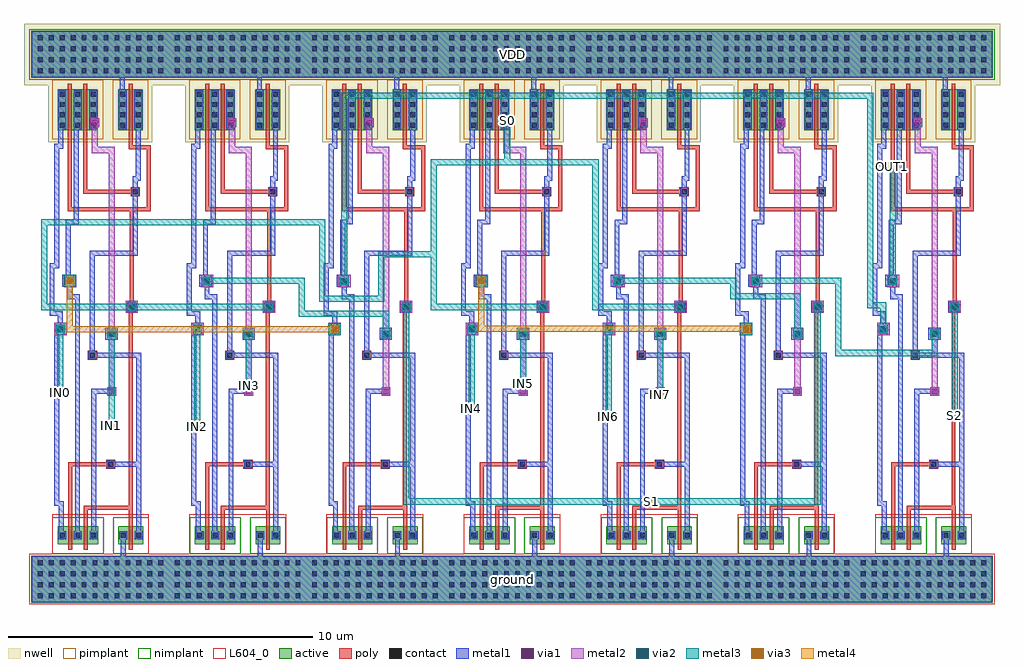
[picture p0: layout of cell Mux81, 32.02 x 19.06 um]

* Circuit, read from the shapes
.subckt Mux81 IN0 IN1 IN2 IN3 IN4 IN5 IN6 IN7 OUT1 S0 S1 S2 VDD ground
M1 Mux21_1/A n1 IN0 ground nfet w=0.6u l=0.13u
M2 IN1 S0 Mux21_1/A ground nfet w=0.6u l=0.13u
M3 n1 S0 ground ground nfet w=0.6u l=0.13u
M4 Mux21_1/B n2 IN2 ground nfet w=0.6u l=0.13u
M5 IN3 S0 Mux21_1/B ground nfet w=0.6u l=0.13u
M6 n2 S0 ground ground nfet w=0.6u l=0.13u
M7 Mux21_3/A n3 Mux21_1/A ground nfet w=0.6u l=0.13u
M8 Mux21_1/B S1 Mux21_3/A ground nfet w=0.6u l=0.13u
M9 n3 S1 ground ground nfet w=0.6u l=0.13u
M10 Mux21_5/A n4 IN4 ground nfet w=0.6u l=0.13u
M11 IN5 S0 Mux21_5/A ground nfet w=0.6u l=0.13u
M12 n4 S0 ground ground nfet w=0.6u l=0.13u
M13 Mux21_5/B n5 IN6 ground nfet w=0.6u l=0.13u
M14 IN7 S0 Mux21_5/B ground nfet w=0.6u l=0.13u
M15 n5 S0 ground ground nfet w=0.6u l=0.13u
M16 Mux21_3/B n6 Mux21_5/A ground nfet w=0.6u l=0.13u
M17 Mux21_5/B S1 Mux21_3/B ground nfet w=0.6u l=0.13u
M18 n6 S1 ground ground nfet w=0.6u l=0.13u
M19 OUT1 n7 Mux21_3/A ground nfet w=0.6u l=0.13u
M20 Mux21_3/B S2 OUT1 ground nfet w=0.6u l=0.13u
M21 n7 S2 ground ground nfet w=0.6u l=0.13u
M22 Mux21_1/A S0 IN0 VDD pfet w=1.35u l=0.13u
M23 IN1 n1 Mux21_1/A VDD pfet w=1.35u l=0.13u
M24 n1 S0 VDD VDD pfet w=1.35u l=0.13u
M25 Mux21_1/B S0 IN2 VDD pfet w=1.35u l=0.13u
M26 IN3 n2 Mux21_1/B VDD pfet w=1.35u l=0.13u
M27 n2 S0 VDD VDD pfet w=1.35u l=0.13u
M28 Mux21_3/A S1 Mux21_1/A VDD pfet w=1.35u l=0.13u
M29 Mux21_1/B n3 Mux21_3/A VDD pfet w=1.35u l=0.13u
M30 n3 S1 VDD VDD pfet w=1.35u l=0.13u
M31 Mux21_5/A S0 IN4 VDD pfet w=1.35u l=0.13u
M32 IN5 n4 Mux21_5/A VDD pfet w=1.35u l=0.13u
M33 n4 S0 VDD VDD pfet w=1.35u l=0.13u
M34 Mux21_5/B S0 IN6 VDD pfet w=1.35u l=0.13u
M35 IN7 n5 Mux21_5/B VDD pfet w=1.35u l=0.13u
M36 n5 S0 VDD VDD pfet w=1.35u l=0.13u
M37 Mux21_3/B S1 Mux21_5/A VDD pfet w=1.35u l=0.13u
M38 Mux21_5/B n6 Mux21_3/B VDD pfet w=1.35u l=0.13u
M39 n6 S1 VDD VDD pfet w=1.35u l=0.13u
M40 OUT1 S2 Mux21_3/A VDD pfet w=1.35u l=0.13u
M41 Mux21_3/B n7 OUT1 VDD pfet w=1.35u l=0.13u
M42 n7 S2 VDD VDD pfet w=1.35u l=0.13u
.ends

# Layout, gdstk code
import gdstk
lib = gdstk.Library(unit=1e-6, precision=1e-09)
def R(c, l, rs):  # rectangles x0, y0, x1, y1
    for r in rs: c.add(gdstk.rectangle(r[:2], r[2:], *l))
def A(c, l, x, y, w, h, nx, ny, dx, dy):  # array of equal rectangles
    R(c, l, [(x+i*dx, y+j*dy, x+i*dx+w, y+j*dy+h) for i in range(nx) for j in range(ny)])
def P(c, l, *ps):  # polygons
    for p in ps: c.add(gdstk.Polygon(p, *l))
nwell = (3, 0)
active = (6, 0)
poly = (17, 0)
pimplant = (25, 0)
nimplant = (26, 0)
contact = (30, 0)
metal1 = (31, 0)
metal2 = (32, 0)
metal3 = (33, 0)
metal4 = (34, 0)
via1 = (51, 0)
via2 = (52, 0)
via3 = (53, 0)
L604_0 = (604, 0)

m2m3 = lib.new_cell('M2M3')
R(m2m3, metal2, [(-0.145,-0.145,0.145,0.145)])
R(m2m3, metal3, [(-0.145,-0.145,0.145,0.145)])
R(m2m3, via2, [(-0.095,-0.095,0.095,0.095)])

m1m2 = lib.new_cell('M1M2')
R(m1m2, metal1, [(-0.145,-0.145,0.145,0.145)])
R(m1m2, metal2, [(-0.145,-0.145,0.145,0.145)])
R(m1m2, via1, [(-0.095,-0.095,0.095,0.095)])

poly_m1 = lib.new_cell('POLY_M1')
R(poly_m1, poly, [(-0.15,-0.15,0.15,0.15)])
R(poly_m1, contact, [(-0.08,-0.08,0.08,0.08)])
R(poly_m1, metal1, [(-0.13,-0.13,0.13,0.13)])

mux21 = lib.new_cell('Mux21')
R(mux21, nwell, [(-1.815,108.335,1.605,110.465), (-2.605,110.205,2.415,112.225)])
R(mux21, active, [(-2.365,93.225,2.175,94.765), (-1.495,95.135,-0.175,95.735), (0.495,95.135,1.305,95.735), (-1.505,108.725,-0.185,110.075), (0.485,108.725,1.295,110.075), (-2.365,110.445,2.175,111.985)])
R(mux21, poly, [(-1.155,94.955,-1.025,95.135), (-0.645,94.955,-0.515,95.135), (0.835,94.955,0.965,95.135), (-1.155,95.135,-1.025,95.735), (-0.645,95.135,-0.515,95.735), (0.835,95.135,0.965,95.735), (-1.155,95.735,-1.025,95.915), (-0.645,95.735,-0.515,95.915), (0.835,95.735,0.965,95.915), (0.835,95.785,0.965,96.4), (0.825,96.27,0.965,96.4), (0.825,96.27,0.955,102.99), (0.87,102.86,1,106.2), (0.87,106.07,1.56,106.2), (-1.165,108.545,-1.035,108.725), (-0.655,108.545,-0.525,108.725), (0.825,108.545,0.955,108.725), (-1.165,108.725,-1.035,110.075), (-0.655,108.725,-0.525,110.075), (0.825,108.725,0.955,110.075), (-1.165,110.075,-1.035,110.255), (-0.655,110.075,-0.525,110.255), (0.825,110.075,0.955,110.255)])
P(mux21, poly, [(-1.155,95.785),(-1.025,95.785),(-1.025,97.705),(0.31,97.705),(0.31,97.835),(-1.155,97.835)],
  [(-0.655,106.645),(1.115,106.645),(1.115,106.775),(-0.525,106.775),(-0.525,108.675),(-0.655,108.675)],
  [(0.825,108.1),(1.43,108.1),(1.43,106.07),(1.56,106.07),(1.56,108.23),(0.955,108.23),(0.955,108.675),(0.825,108.675)],
  [(-0.645,95.785),(-0.515,95.785),(-0.515,96.27),(0.955,96.27),(0.955,96.4),(-0.645,96.4)],
  [(-1.165,106.07),(1,106.07),(1,106.2),(-1.035,106.2),(-1.035,108.675),(-1.165,108.675)])
R(mux21, pimplant, [(-2.425,93.165,2.235,94.825), (-1.685,108.425,-0.005,110.375), (0.305,108.425,1.475,110.375)])
R(mux21, nimplant, [(-1.675,94.835,0.005,96.035), (0.315,94.835,1.485,96.035), (-2.425,110.385,2.235,112.045)])
A(mux21, contact, -2.155, 93.375, 0.16, 0.16, 12, 4, 0.36, 0.36)
A(mux21, contact, -1.425, 95.355, 0.16, 0.16, 3, 1, 0.51, 0)
A(mux21, contact, -1.435, 108.81, 0.16, 0.16, 3, 4, 0.51, 0.34)
A(mux21, contact, 0.555, 108.81, 0.16, 0.16, 1, 4, 0, 0.34)
A(mux21, contact, 1.065, 108.81, 0.16, 0.16, 1, 4, 0, 0.34)
A(mux21, contact, -2.155, 110.595, 0.16, 0.16, 12, 4, 0.36, 0.36)
R(mux21, contact, [(0.565,95.355,0.725,95.515), (1.075,95.355,1.235,95.515)])
A(mux21, metal1, -1.475, 95.305, 0.26, 0.26, 3, 1, 0.51, 0)
A(mux21, metal1, -1.485, 108.76, 0.26, 1.28, 3, 1, 0.51, 0)
R(mux21, metal1, [(-2.345,93.245,2.155,94.745), (-2.345,93.245,2.155,94.745), (0.57,94.585,0.73,95.465), (0.515,95.305,0.775,95.565), (1.025,95.305,1.285,95.565), (1.075,95.405,1.235,97.85), (0.165,97.69,1.235,97.85), (0.065,101.85,0.465,102.25), (-1.61,102,-1.21,102.4), (0.725,102.73,1.125,103.13), (-1.35,103.585,-0.95,103.985), (0.505,108.76,0.765,110.04), (1.015,108.76,1.275,110.04), (-0.365,108.885,-0.2,109.045), (0.54,109.88,0.7,110.625), (-2.345,110.465,2.155,111.965), (-2.345,110.465,2.155,111.965)])
P(mux21, metal1, [(0.97,106.63),(1.13,106.63),(1.13,107.06),(1.225,107.06),(1.225,108.92),(1.065,108.92),(1.065,107.22),(0.97,107.22)],
  [(-0.44,101.26),(-0.28,101.26),(-0.28,104.605),(1.13,104.605),(1.13,106.79),(0.97,106.79),(0.97,104.765),(-0.44,104.765)],
  [(-1.18,103.185),(-0.93,103.185),(-0.93,95.405),(-0.77,95.405),(-0.77,103.345),(-1.02,103.345),(-1.02,103.86),(-1.18,103.86)],
  [(-1.23,103.825),(-1.07,103.825),(-1.07,105.635),(-0.815,105.635),(-0.815,108.92),(-0.975,108.92),(-0.975,105.795),(-1.23,105.795)],
  [(-0.44,101.26),(1.075,101.26),(1.075,97.69),(1.235,97.69),(1.235,101.42),(-0.44,101.42)],
  [(-1.61,96.4),(-1.465,96.4),(-1.465,95.405),(-1.305,95.405),(-1.305,96.56),(-1.45,96.56),(-1.45,102.16),(-1.61,102.16)],
  [(-1.765,102.63),(-1.49,102.63),(-1.49,102.24),(-1.33,102.24),(-1.33,102.79),(-1.605,102.79),(-1.605,104.2),(-1.45,104.2),(-1.45,108.115),(-1.325,108.115),(-1.325,108.92),(-1.485,108.92),(-1.485,108.275),(-1.61,108.275),(-1.61,104.36),(-1.765,104.36)],
  [(-0.395,95.405),(-0.235,95.405),(-0.235,100.075),(0.35,100.075),(0.35,100.235),(-0.395,100.235)])
R(mux21, metal2, [(-1.61,102.005,-1.21,102.405), (0.735,102.73,1.135,103.13), (-1.29,103.58,-0.89,103.98)])
P(mux21, metal2, [(-0.38,107.975),(0.17,107.975),(0.17,100.055),(0.37,100.055),(0.37,108.175),(-0.18,108.175),(-0.18,109.065),(-0.38,109.065)])
R(mux21, metal3, [(0.17,101.965,0.37,102.165), (-1.515,102.095,-1.315,102.295), (0.835,102.825,1.035,103.025), (-1.2,103.68,-1,103.88)])
R(mux21, L604_0, [(-2.425,93.165,2.235,94.825), (-1.685,94.745,1.495,96.125), (0.73,102.735,1.13,103.135)])
mux21.add(gdstk.Reference(m2m3, (0.935,102.925)))
mux21.add(gdstk.Reference(m1m2, (-1.415,102.19)))
mux21.add(gdstk.Reference(m1m2, (-1.1,103.78)))
mux21.add(gdstk.Reference(m2m3, (-1.1,103.78)))
mux21.add(gdstk.Reference(poly_m1, (-0.36,101.34)))
mux21.add(gdstk.Reference(m1m2, (0.27,100.155)))
mux21.add(gdstk.Reference(m2m3, (0.27,102.05)))
mux21.add(gdstk.Reference(poly_m1, (0.245,97.77)))
mux21.add(gdstk.Reference(poly_m1, (0.935,102.925)))
mux21.add(gdstk.Reference(m1m2, (0.935,102.925)))
mux21.add(gdstk.Reference(m1m2, (0.27,102.05)))
mux21.add(gdstk.Reference(m2m3, (0.27,102.05)))
mux21.add(gdstk.Reference(m1m2, (-0.28,108.965)))
mux21.add(gdstk.Reference(poly_m1, (1.05,106.71)))
mux21.add(gdstk.Reference(m2m3, (-1.415,102.19)))
mux21.add(gdstk.Label('/M6', (-1.09,95.435), layer=17, texttype=0))
mux21.add(gdstk.Label('/M5', (-0.58,95.435), layer=17, texttype=0))
mux21.add(gdstk.Label('/M1', (0.9,95.435), layer=17, texttype=0))
mux21.add(gdstk.Label('/M3', (-1.1,109.4), layer=17, texttype=0))
mux21.add(gdstk.Label('/M4', (-0.59,109.4), layer=17, texttype=0))
mux21.add(gdstk.Label('/M2', (0.89,109.4), layer=17, texttype=0))
mux21.add(gdstk.Label('Y', (-1.1,103.78), layer=133, texttype=0))
mux21.add(gdstk.Label('A', (-1.415,102.195), layer=133, texttype=0))
mux21.add(gdstk.Label('B', (0.27,102.065), layer=133, texttype=0))
mux21.add(gdstk.Label('S', (0.935,102.925), layer=133, texttype=0))
mux21.add(gdstk.Label('VDD', (-0.095,111.215), layer=131, texttype=0))
mux21.add(gdstk.Label('ground', (-0.095,93.995), layer=131, texttype=0))

m3m4 = lib.new_cell('M3M4')
R(m3m4, metal3, [(-0.145,-0.145,0.145,0.145)])
R(m3m4, metal4, [(-0.145,-0.145,0.145,0.145)])
R(m3m4, via3, [(-0.095,-0.095,0.095,0.095)])

mux81 = lib.new_cell('Mux81')
R(mux81, metal1, [(-1.465,259.025,30.035,260.525), (-1.465,276.245,30.035,277.745)])
R(mux81, metal3, [(1.05,264.725,1.25,267.945), (3.865,264.725,4.065,268.075), (17.365,265,17.565,268.075), (28.715,265.045,28.915,268.805), (12.865,265.275,13.065,268.075), (19.05,265.725,19.25,267.945), (-0.635,265.815,-0.435,268.075), (5.55,266.025,5.75,267.945), (14.55,266.1,14.75,267.945), (8.26,267.77,8.66,268.17), (21.76,267.785,22.16,268.185), (8.36,267.875,8.565,268.075), (21.865,267.875,22.065,268.085), (1.715,268.605,6.415,268.805), (13.08,269.35,13.48,269.75), (-0.42,269.365,-0.02,269.765), (26.68,269.46,26.88,273.405), (14.035,273.36,14.235,274.93)])
P(mux81, metal3, [(-1.165,268.605),(1.915,268.605),(1.915,268.805),(-0.965,268.805),(-0.965,271.38),(7.96,271.38),(7.96,268.875),(10.1,268.875),(10.1,270.335),(11.815,270.335),(11.815,270.535),(9.9,270.535),(9.9,269.075),(8.16,269.075),(8.16,271.58),(-1.165,271.58)],
  [(4.18,269.46),(7.29,269.46),(7.29,268.385),(10.05,268.385),(10.05,267.745),(10.25,267.745),(10.25,268.585),(7.49,268.585),(7.49,269.66),(4.18,269.66)],
  [(11.615,270.335),(11.815,270.335),(11.815,273.35),(14.235,273.35),(14.235,273.56),(14.035,273.56),(14.035,273.55),(11.615,273.55)],
  [(14.035,273.36),(16.925,273.36),(16.925,268.605),(19.915,268.605),(19.915,268.805),(17.125,268.805),(17.125,273.56),(14.035,273.56)],
  [(10.715,262.225),(24.415,262.225),(24.415,268.805),(24.215,268.805),(24.215,262.425),(10.915,262.425),(10.915,268.805),(10.715,268.805)],
  [(22.18,269.46),(24.89,269.46),(24.89,267.095),(28.25,267.095),(28.25,267.945),(28.05,267.945),(28.05,267.295),(25.09,267.295),(25.09,269.66),(22.18,269.66)],
  [(17.68,269.46),(21.445,269.46),(21.445,268.955),(23.55,268.955),(23.55,267.745),(23.75,267.745),(23.75,269.155),(21.645,269.155),(21.645,269.66),(17.68,269.66)],
  [(8.68,269.46),(8.88,269.46),(8.88,275.54),(25.935,275.54),(25.935,268.66),(26.365,268.66),(26.365,267.875),(26.565,267.875),(26.565,268.86),(26.135,268.86),(26.135,275.74),(8.68,275.74)],
  [(11.615,268.605),(15.415,268.605),(15.415,268.805),(11.815,268.805),(11.815,270.535),(11.615,270.535)])
R(mux81, metal4, [(18.76,262.225,18.96,262.425), (3.86,264.7,4.06,264.9), (1.06,264.725,1.26,264.925), (17.36,265,17.56,265.2), (28.705,265.045,28.905,265.245), (12.86,265.275,13.06,265.475), (19.06,265.725,19.26,265.925), (-0.635,265.815,-0.435,266.015), (5.56,266.025,5.76,266.225), (14.56,266.1,14.76,266.3), (26.68,273.205,26.88,273.405), (14.035,274.725,14.235,274.925)])
P(mux81, metal4, [(13.18,267.885),(22.065,267.885),(22.065,268.085),(13.38,268.085),(13.38,269.66),(13.18,269.66)],
  [(-0.32,267.875),(8.56,267.875),(8.56,268.075),(-0.12,268.075),(-0.12,269.66),(-0.32,269.66)])
mux81.add(gdstk.Reference(mux21, (0.88,165.78)))
mux81.add(gdstk.Reference(mux21, (9.88,165.78)))
mux81.add(gdstk.Reference(mux21, (5.38,165.78)))
mux81.add(gdstk.Reference(mux21, (27.88,165.78)))
mux81.add(gdstk.Reference(mux21, (14.38,165.78)))
mux81.add(gdstk.Reference(mux21, (23.38,165.78)))
mux81.add(gdstk.Reference(mux21, (18.88,165.78)))
mux81.add(gdstk.Reference(m3m4, (8.46,267.975)))
mux81.add(gdstk.Reference(m3m4, (18.86,262.325)))
mux81.add(gdstk.Reference(m3m4, (28.815,265.145)))
mux81.add(gdstk.Reference(m3m4, (26.78,273.305)))
mux81.add(gdstk.Reference(m3m4, (14.135,274.83)))
mux81.add(gdstk.Reference(m3m4, (19.15,265.825)))
mux81.add(gdstk.Reference(m3m4, (17.465,265.1)))
mux81.add(gdstk.Reference(m3m4, (14.65,266.2)))
mux81.add(gdstk.Reference(m3m4, (12.965,265.375)))
mux81.add(gdstk.Reference(m3m4, (5.65,266.125)))
mux81.add(gdstk.Reference(m3m4, (3.965,264.825)))
mux81.add(gdstk.Reference(m3m4, (1.15,264.825)))
mux81.add(gdstk.Reference(m3m4, (-0.535,265.915)))
mux81.add(gdstk.Reference(m3m4, (13.28,269.56)))
mux81.add(gdstk.Reference(m3m4, (21.965,267.985)))
mux81.add(gdstk.Reference(m3m4, (-0.22,269.56)))
mux81.add(gdstk.Label('IN0', (-0.535,265.915), layer=134, texttype=0))
mux81.add(gdstk.Label('OUT1', (26.78,273.305), layer=134, texttype=0))
mux81.add(gdstk.Label('S2', (28.805,265.145), layer=134, texttype=0))
mux81.add(gdstk.Label('S1', (18.86,262.325), layer=134, texttype=0))
mux81.add(gdstk.Label('IN7', (19.16,265.825), layer=134, texttype=0))
mux81.add(gdstk.Label('IN6', (17.46,265.1), layer=134, texttype=0))
mux81.add(gdstk.Label('IN5', (14.66,266.2), layer=134, texttype=0))
mux81.add(gdstk.Label('IN4', (12.96,265.375), layer=134, texttype=0))
mux81.add(gdstk.Label('S0', (14.135,274.825), layer=134, texttype=0))
mux81.add(gdstk.Label('IN3', (5.66,266.125), layer=134, texttype=0))
mux81.add(gdstk.Label('IN2', (3.96,264.8), layer=134, texttype=0))
mux81.add(gdstk.Label('IN1', (1.16,264.825), layer=134, texttype=0))
mux81.add(gdstk.Label('ground', (14.285,259.775), layer=131, texttype=0))
mux81.add(gdstk.Label('VDD', (14.285,276.995), layer=131, texttype=0))

lib.write_gds('Mux81.gds')
